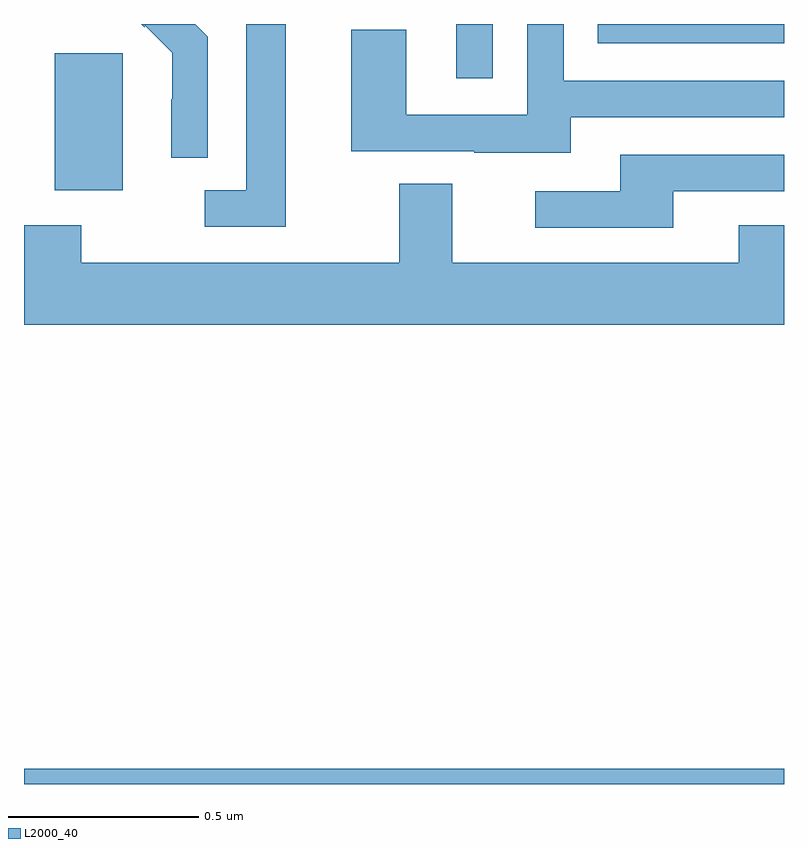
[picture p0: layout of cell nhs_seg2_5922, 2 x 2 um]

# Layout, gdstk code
import gdstk
lib = gdstk.Library(unit=1e-6, precision=1e-09)
def R(c, l, rs):  # rectangles x0, y0, x1, y1
    for r in rs: c.add(gdstk.rectangle(r[:2], r[2:], *l))
def P(c, l, *ps):  # polygons
    for p in ps: c.add(gdstk.Polygon(p, *l))
L2000_40 = (2000, 40)

nhs_seg2_5922 = lib.new_cell('nhs_seg2_5922')
R(nhs_seg2_5922, L2000_40, [(185,607.8,187,607.84), (185.081,609.362,185.26,609.723), (186.137,609.657,186.234,609.8), (186.51,609.75,187,609.8)])
P(nhs_seg2_5922, L2000_40, [(185.689,609.8),(185.585,609.8),(185.585,609.363),(185.475,609.363),(185.475,609.267),(185.689,609.267)],
  [(186.439,609.555),(187,609.555),(187,609.651),(186.42,609.651),(186.42,609.8),(186.324,609.8),(186.324,609.561),(186.006,609.561),(186.006,609.785),(185.861,609.785),(185.861,609.465),(186.185,609.465),(186.185,609.461),(186.439,609.461)],
  [(185.484,609.766),(185.45,609.8),(185.308,609.8),(185.316,609.792),(185.319,609.795),(185.39,609.725),(185.39,609.602),(185.388,609.602),(185.388,609.448),(185.484,609.448)],
  [(186.709,609.36),(187,609.36),(187,609.456),(186.569,609.456),(186.569,609.36),(186.345,609.36),(186.345,609.264),(186.709,609.264)],
  [(187,609.271),(186.881,609.271),(186.881,609.172),(186.127,609.172),(186.127,609.38),(185.987,609.38),(185.987,609.172),(185.151,609.172),(185.151,609.271),(185,609.271),(185,609.008),(187,609.008)])

lib.write_gds('nhs_seg2_5922.gds')
